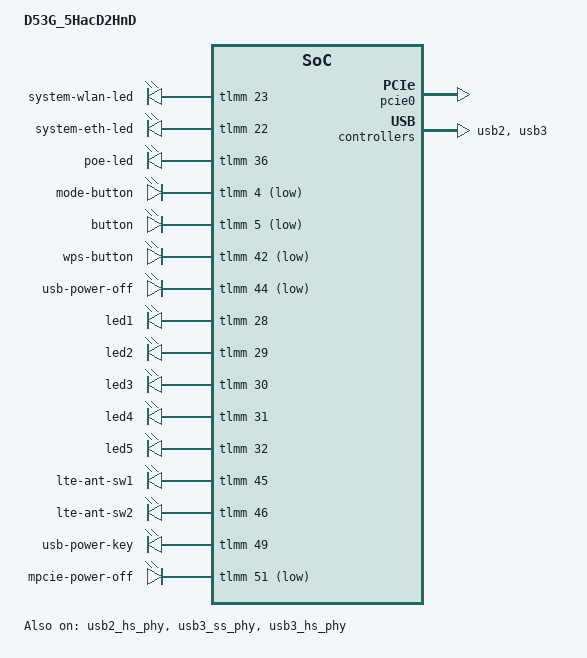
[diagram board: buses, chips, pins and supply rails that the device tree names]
/dts-v1/;
#include "ipq40xx.dtsi"

/ {
	model = "D53G_5HacD2HnD";

	leds {
		compatible = "leds-rb";
		system-led {
			red {
				gpios = <&tlmm 1 GPIO_ACTIVE_HIGH>;
			};
			green {
				gpios = <&tlmm 3 GPIO_ACTIVE_HIGH>;
			};
			blue {
				gpios = <&tlmm 0 GPIO_ACTIVE_HIGH>;
				default-state = "on";
			};
		};
		system-wlan-led {
			gpios = <&tlmm 23 GPIO_ACTIVE_HIGH>;
		};
		system-eth-led {
			gpios = <&tlmm 22 GPIO_ACTIVE_HIGH>;
		};
		poe-led {
			gpios = <&tlmm 36 GPIO_ACTIVE_HIGH>;
		};
		mode-button {
			gpios = <&tlmm 4 GPIO_ACTIVE_LOW>;
			default-state = "input";
		};
		button {
			gpios = <&tlmm 5 GPIO_ACTIVE_LOW>;
			default-state = "input";
		};
		wps-button {
			gpios = <&tlmm 42 GPIO_ACTIVE_LOW>;
			default-state = "input";
		};
		usb-power-off {
			gpios = <&tlmm 44 GPIO_ACTIVE_LOW>;
		};
		/* LTE signal strength LEDs: */
		led1 {
			gpios = <&tlmm 28 GPIO_ACTIVE_HIGH>;
		};
		led2 {
			gpios = <&tlmm 29 GPIO_ACTIVE_HIGH>;
		};
		led3 {
			gpios = <&tlmm 30 GPIO_ACTIVE_HIGH>;
		};
		led4 {
			gpios = <&tlmm 31 GPIO_ACTIVE_HIGH>;
		};
		led5 {
			gpios = <&tlmm 32 GPIO_ACTIVE_HIGH>;
		};
		lte-ant-sw1 {
			gpios = <&tlmm 45 GPIO_ACTIVE_HIGH>;
		};
		lte-ant-sw2 {
			gpios = <&tlmm 46 GPIO_ACTIVE_HIGH>;
		};
		usb-power-key {
			gpios = <&tlmm 49 GPIO_ACTIVE_HIGH>;
		};
		mpcie-power-off {
			gpios = <&tlmm 51 GPIO_ACTIVE_LOW>;
		};

	};
};

&edma {
	port_map = <4 3 2 1 0(-1)>;
};

&pcie0 {
	perst-gpio = <&tlmm 49 GPIO_ACTIVE_HIGH>;
	pwr-gpio = <&tlmm 51 GPIO_ACTIVE_HIGH>;
	status = "ok";
};

&usb2 {
	status = "ok";
};

&usb2_hs_phy {
	status = "ok";
};

&usb3 {
	status = "ok";
};

&usb3_ss_phy {
	status = "ok";
};

&usb3_hs_phy {
	status = "ok";
};
